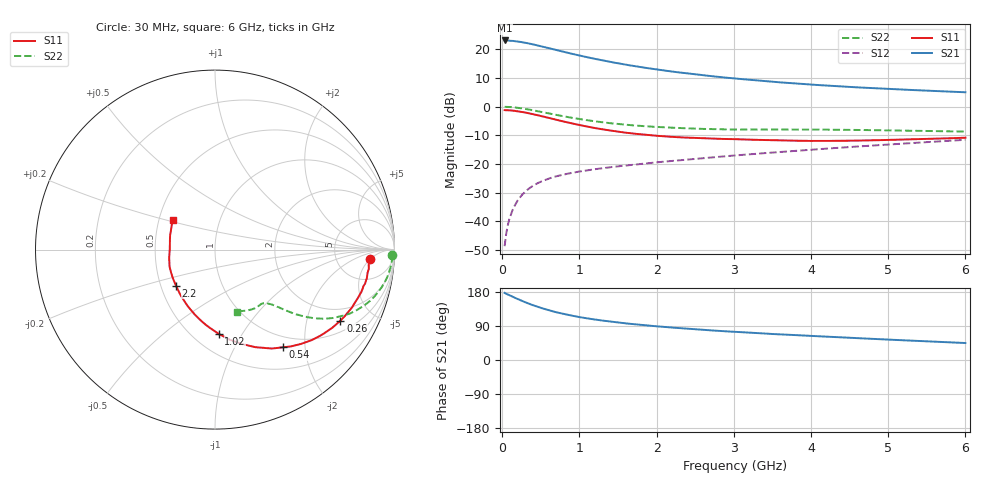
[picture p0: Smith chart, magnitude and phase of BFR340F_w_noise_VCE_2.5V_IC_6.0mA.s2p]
! Infineon Technologies  Discrete & RF Semiconductors
! BFR340F
! VCE =  2.5 V,  IC =  6.0 mA
! Common Emitter S-Parameters:  Nov 2015
# GHz  S  MA  R  50
!  f  S11  S21  S12  S22
! GHz  MAG  ANG  MAG  ANG  MAG  ANG  MAG  ANG
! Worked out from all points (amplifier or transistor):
!   206 points, 30 MHz to 6 GHz, reference 50 ohm
!   highest |S21| = 23.0 dB at 30 MHz (marker M1)
!   |S21| within 3 dB of that: start of sweep to 650.7 MHz
!   unconditionally stable (mu >= 1): 2.768 GHz to 5.797 GHz
!   at 200 MHz: K = 0.14, MSG = 27.7 dB, |S12| = -32.7 dB
!   at 1.56 GHz: K = 0.80, MSG = 17.7 dB, |S12| = -20.6 dB
!   at 6 GHz: K = 0.99, MSG = 8.3 dB, |S12| = -11.6 dB
!   lowest NFmin = 1.17 dB at 450 MHz
!   S11 on the Smith chart (normalised r, x): 30 MHz: 12, -5; 260 MHz: 1.44, -3.20; 540 MHz: 0.82, -1.60; 1.02 GHz: 0.66, -0.80; 2.2 GHz: 0.60, -0.26; 6 GHz: 0.59, +0.21
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0.03  0.8654 -3.4  14.15 177.1  0.0037 88.3  0.989 -1.9
0.05  0.8602 -5.6  14.05 174.6  0.006 86.5  0.9877 -3.2
0.07  0.8599 -8.5  14.13 172.8  0.0084 86.0  0.9862 -4.6
0.14  0.8483 -16.3  13.89 166.5  0.0164 81.6  0.9715 -9.1
0.2  0.8282 -23.0  13.58 160.9  0.0232 78.0  0.9519 -12.8
0.26  0.8032 -29.5  13.19 155.6  0.0293 74.9  0.9275 -16.2
0.34  0.766 -37.6  12.57 149.0  0.0368 71.1  0.8899 -20.3
0.4  0.7375 -43.2  12.08 144.4  0.0418 68.7  0.86 -23.0
0.54  0.6634 -55.1  10.9 135.1  0.0517 64.0  0.7892 -28.1
0.7  0.5884 -67.5  9.647 125.9  0.061 60.5  0.7145 -32.6
0.8  0.5463 -74.2  8.933 121.2  0.0657 59.0  0.6736 -34.6
1.02  0.4705 -87.4  7.632 112.6  0.0746 57.0  0.5997 -37.7
1.04  0.4646 -88.4  7.527 111.9  0.0754 56.9  0.5941 -37.9
1.2  0.4222 -97.0  6.765 106.7  0.081 56.3  0.5524 -39.5
1.42  0.3783 -107.5  5.917 100.8  0.0883 56.1  0.509 -41.0
1.68  0.3402 -118.6  5.143 95.0  0.0966 56.5  0.472 -42.5
2.02  0.3082 -131.1  4.386 88.6  0.1073 57.5  0.44 -44.0
2.2  0.2962 -137.3  4.063 85.6  0.1131 57.9  0.4276 -44.9
3.1  0.2676 -161.4  3.007 73.4  0.1437 60.2  0.3975 -49.9
4.1  0.2519 179.2  2.364 62.6  0.1809 61.5  0.397 -54.8
5.1  0.2636 160.8  1.998 52.9  0.2222 61.5  0.3831 -62.3
6  0.2864 145.4  1.772 44.8  0.2635 60.5  0.3665 -70.3
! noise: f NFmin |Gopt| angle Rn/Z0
0.45  1.17  0.43  2  0.31
0.9  1.18  0.43  11  0.34
1.9  1.43  0.3  17  0.31
2.4  1.55  0.26  27  0.31
